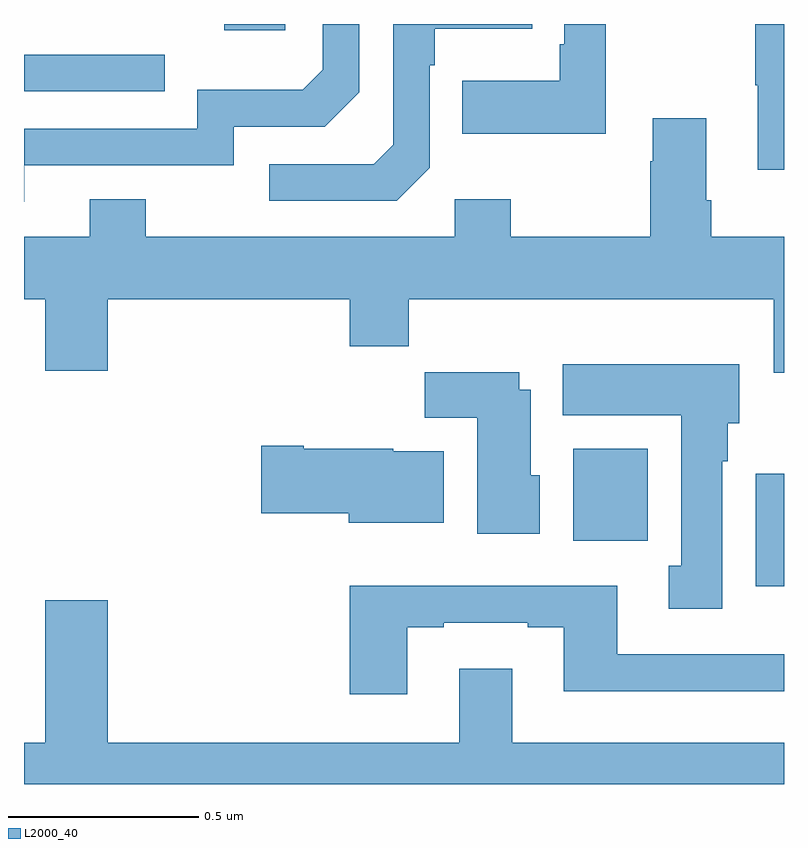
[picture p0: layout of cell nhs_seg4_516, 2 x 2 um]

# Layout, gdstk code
import gdstk
lib = gdstk.Library(unit=1e-6, precision=1e-09)
def R(c, l, rs):  # rectangles x0, y0, x1, y1
    for r in rs: c.add(gdstk.rectangle(r[:2], r[2:], *l))
def P(c, l, *ps):  # polygons
    for p in ps: c.add(gdstk.Polygon(p, *l))
L2000_40 = (2000, 40)

nhs_seg4_516 = lib.new_cell('nhs_seg4_516')
R(nhs_seg4_516, L2000_40, [(118.925,773.42,119,773.716), (118.445,773.54,118.642,773.782), (117,774.723,117.371,774.819), (117.527,774.884,117.688,774.9)])
P(nhs_seg4_516, L2000_40, [(118.068,774.522),(118.068,774.791),(118.081,774.791),(118.081,774.887),(118.337,774.887),(118.337,774.9),(117.972,774.9),(117.972,774.582),(117.921,774.531),(117.645,774.531),(117.645,774.435),(117.981,774.435)],
  [(117.001,774.528),(117.552,774.528),(117.552,774.63),(117.792,774.63),(117.882,774.72),(117.882,774.9),(117.786,774.9),(117.786,774.78),(117.733,774.727),(117.456,774.727),(117.456,774.624),(117,774.624),(117,774.432),(117.001,774.432)],
  [(119,774.9),(118.924,774.9),(118.924,774.739),(118.931,774.739),(118.931,774.516),(119,774.516)],
  [(118.531,774.9),(118.422,774.9),(118.422,774.847),(118.41,774.847),(118.41,774.751),(118.153,774.751),(118.153,774.611),(118.531,774.611)],
  [(119,774.34),(118.808,774.34),(118.808,774.436),(118.795,774.436),(118.795,774.652),(118.655,774.652),(118.655,774.539),(118.648,774.539),(118.648,774.34),(118.281,774.34),(118.281,774.439),(118.134,774.439),(118.134,774.34),(117.321,774.34),(117.321,774.439),(117.173,774.439),(117.173,774.34),(117,774.34),(117,774.176),(117.056,774.176),(117.056,773.988),(117.22,773.988),(117.22,774.176),(117.857,774.176),(117.857,774.052),(118.013,774.052),(118.013,774.176),(118.973,774.176),(118.973,773.982),(119,773.982)],
  [(118.837,773.75),(118.852,773.75),(118.852,773.85),(118.882,773.85),(118.882,774.004),(118.418,774.004),(118.418,773.87),(118.73,773.87),(118.73,773.474),(118.697,773.474),(118.697,773.361),(118.837,773.361)],
  [(118.357,773.712),(118.333,773.712),(118.333,773.938),(118.303,773.938),(118.303,773.983),(118.054,773.983),(118.054,773.864),(118.193,773.864),(118.193,773.558),(118.357,773.558)],
  [(118.105,773.776),(117.972,773.776),(117.972,773.782),(117.736,773.782),(117.736,773.79),(117.624,773.79),(117.624,773.612),(117.854,773.612),(117.854,773.588),(118.105,773.588)],
  [(118.009,773.313),(118.105,773.313),(118.105,773.325),(118.325,773.325),(118.325,773.313),(118.421,773.313),(118.421,773.144),(119,773.144),(119,773.241),(118.561,773.241),(118.561,773.422),(117.857,773.422),(117.857,773.136),(118.009,773.136)],
  [(119,773.008),(118.285,773.008),(118.285,773.203),(118.145,773.203),(118.145,773.008),(117.22,773.008),(117.22,773.383),(117.056,773.383),(117.056,773.008),(117,773.008),(117,772.9),(119,772.9)])

lib.write_gds('nhs_seg4_516.gds')
